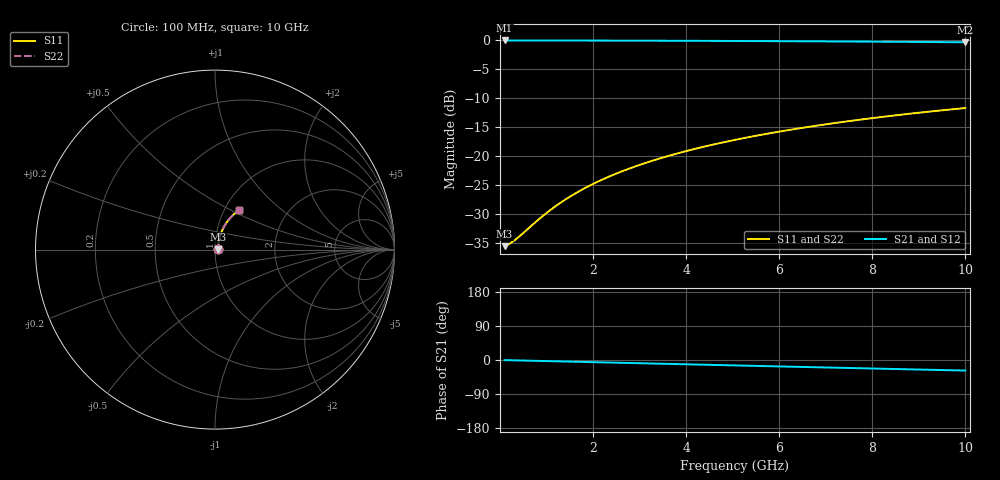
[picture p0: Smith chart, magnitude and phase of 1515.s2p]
# Hz S RI R 50.00
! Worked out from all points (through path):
!   100 points, 100 MHz to 10 GHz, reference 50 ohm
!   highest |S21| = -0.14 dB at 100 MHz (marker M1); lowest = -0.5 dB at 10 GHz (marker M2)
!   group delay of S21, straight-line fit = 7.74 ps
!   lowest |S11| = -35.5 dB at 100 MHz (marker M3), VSWR 1.03, Z = 51.7 + j0.275 ohm
!   |S11| at or under -10 dB: start of sweep to end of sweep
!   |S22| runs from -35.5 to -11.8 dB; largest |S21 - S12| = 0
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1e8  0.0165 0.00266  0.9835 -0.00489  0.9835 -0.00489  0.0165 0.00266
2e8  0.0167 0.00533  0.9833 -0.00978  0.9833 -0.00978  0.0167 0.00533
3e8  0.0168 0.00799  0.9832 -0.0147  0.9832 -0.0147  0.0168 0.00799
4e8  0.017 0.0106  0.983 -0.0195  0.983 -0.0195  0.017 0.0106
9e8  0.0181 0.0239  0.9817 -0.0439  0.9817 -0.0439  0.0181 0.0239
1.2e9  0.019 0.0318  0.9806 -0.0585  0.9806 -0.0585  0.019 0.0318
1.5e9  0.0201 0.0397  0.9793 -0.0731  0.9793 -0.0731  0.0201 0.0397
1.8e9  0.0215 0.0476  0.9777 -0.0876  0.9777 -0.0876  0.0215 0.0476
2.1e9  0.0231 0.0553  0.9758 -0.1021  0.9758 -0.1021  0.0231 0.0553
2.5e9  0.0256 0.0656  0.9728 -0.1213  0.9728 -0.1213  0.0256 0.0656
2.9e9  0.0285 0.0758  0.9694 -0.1404  0.9694 -0.1404  0.0285 0.0758
3.4e9  0.0326 0.0883  0.9644 -0.1641  0.9644 -0.1641  0.0326 0.0883
3.8e9  0.0364 0.0982  0.9599 -0.1828  0.9599 -0.1828  0.0364 0.0982
4.2e9  0.0405 0.1079  0.955 -0.2014  0.955 -0.2014  0.0405 0.1079
4.6e9  0.045 0.1173  0.9496 -0.2198  0.9496 -0.2198  0.045 0.1173
5.1e9  0.0511 0.1289  0.9423 -0.2425  0.9423 -0.2425  0.0511 0.1289
5.9e9  0.062 0.1466  0.9292 -0.2781  0.9292 -0.2781  0.062 0.1466
6.7e9  0.0741 0.1633  0.9145 -0.3127  0.9145 -0.3127  0.0741 0.1633
7.5e9  0.0874 0.1789  0.8983 -0.3462  0.8983 -0.3462  0.0874 0.1789
8.4e9  0.1036 0.1951  0.8784 -0.3825  0.8784 -0.3825  0.1036 0.1951
9.2e9  0.119 0.2081  0.8594 -0.4135  0.8594 -0.4135  0.119 0.2081
1e10  0.1352 0.2199  0.8392 -0.4431  0.8392 -0.4431  0.1352 0.2199
